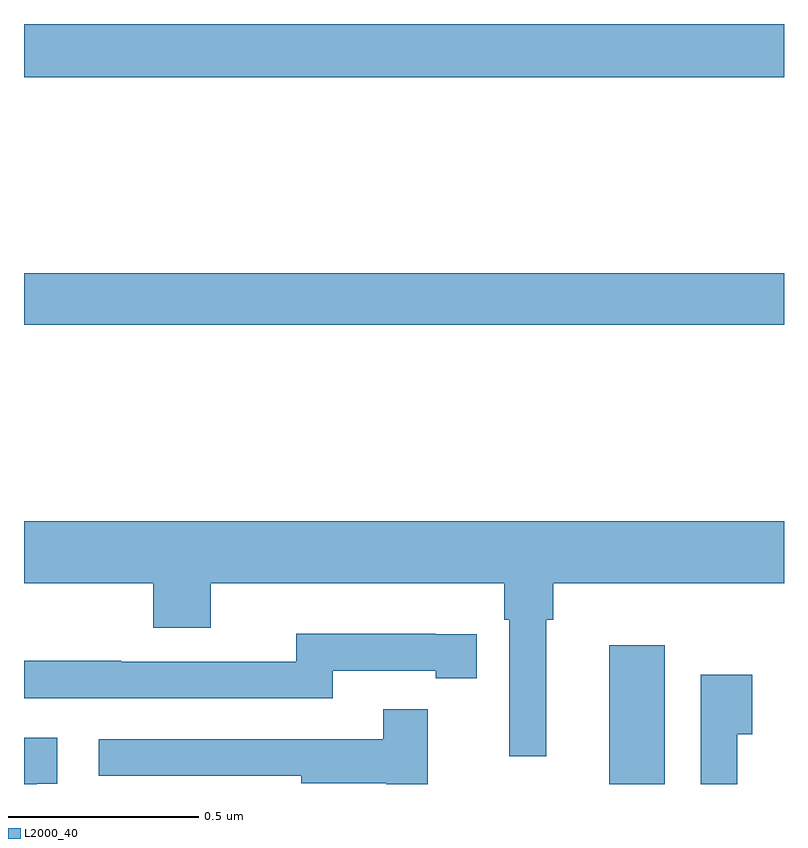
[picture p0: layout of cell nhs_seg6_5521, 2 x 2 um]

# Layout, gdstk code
import gdstk
lib = gdstk.Library(unit=1e-6, precision=1e-09)
def R(c, l, rs):  # rectangles x0, y0, x1, y1
    for r in rs: c.add(gdstk.rectangle(r[:2], r[2:], *l))
def P(c, l, *ps):  # polygons
    for p in ps: c.add(gdstk.Polygon(p, *l))
L2000_40 = (2000, 40)

nhs_seg6_5521 = lib.new_cell('nhs_seg6_5521')
R(nhs_seg6_5521, L2000_40, [(185.54,921.5,185.686,921.865), (184,922.708,186,922.844), (184,923.36,186,923.5)])
P(nhs_seg6_5521, L2000_40, [(185.374,921.932),(185.393,921.932),(185.393,922.028),(186,922.028),(186,922.192),(184,922.192),(184,922.028),(184.34,922.028),(184.34,921.911),(184.492,921.911),(184.492,922.028),(185.264,922.028),(185.264,921.932),(185.277,921.932),(185.277,921.573),(185.374,921.573)],
  [(184.812,921.798),(185.084,921.798),(185.084,921.778),(185.192,921.778),(185.192,921.894),(185.084,921.894),(185.084,921.895),(184.716,921.895),(184.716,921.822),(184.256,921.822),(184.256,921.824),(184,921.824),(184,921.726),(184.812,921.726)],
  [(185.877,921.631),(185.917,921.631),(185.917,921.787),(185.781,921.787),(185.781,921.5),(185.877,921.5)],
  [(185.063,921.697),(184.945,921.697),(184.945,921.618),(184.197,921.618),(184.197,921.522),(184.729,921.522),(184.729,921.502),(184.953,921.502),(184.953,921.5),(185.063,921.5)],
  [(184.034,921.501),(184.087,921.501),(184.087,921.622),(184,921.622),(184,921.5),(184.034,921.5)])

lib.write_gds('nhs_seg6_5521.gds')
